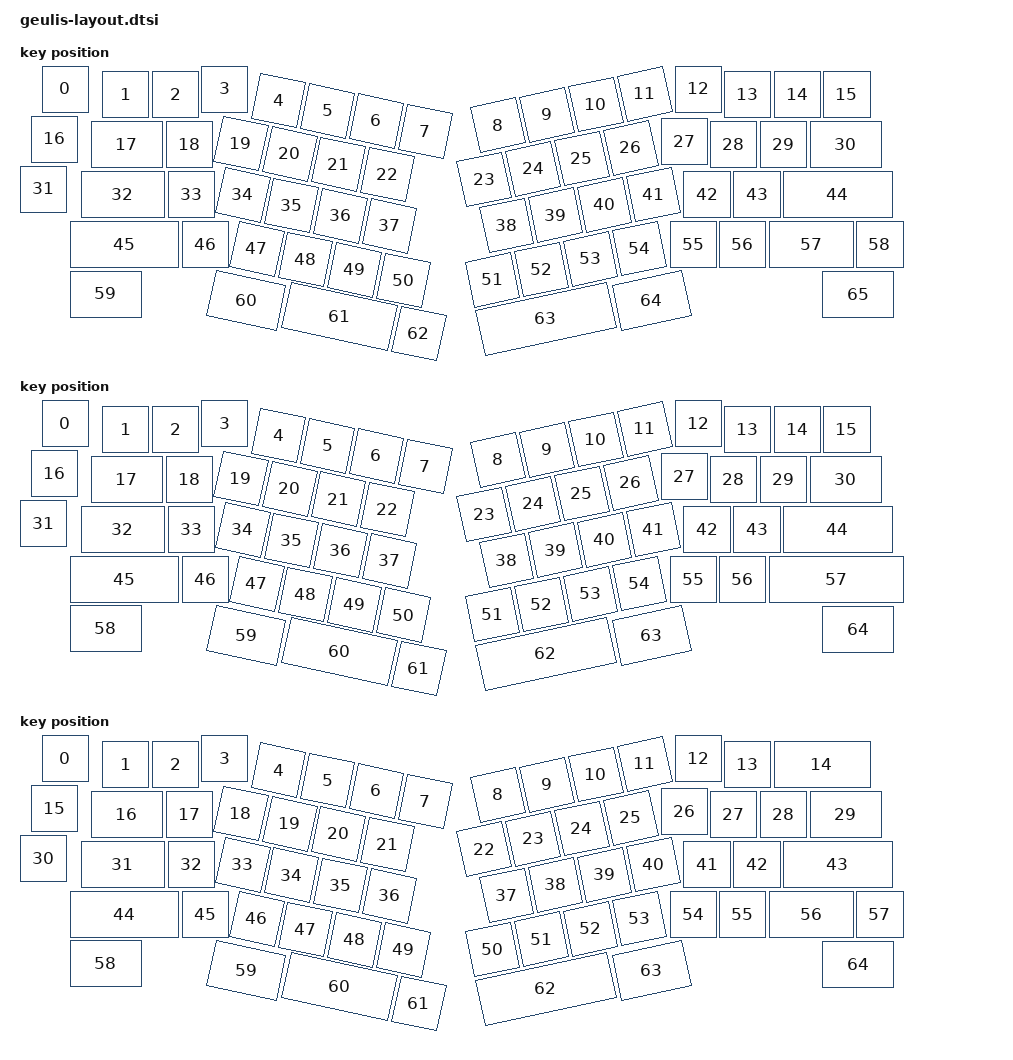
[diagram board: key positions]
#include <physical_layouts.dtsi>

/ {
    // Split backspace and split right shift
    layout0: layout0 {
        compatible = "zmk,physical-layout";
        display-name = "Split Bsp and Split Sft";

        keys  //                     w   h    x    y     rot    rx    ry
            = <&key_physical_attrs 100 100   44    0       0     0     0>
            , <&key_physical_attrs 100 100  165   11       0     0     0>
            , <&key_physical_attrs 100 100  265   11       0     0     0>
            , <&key_physical_attrs 100 100  363    0       0     0     0>
            , <&key_physical_attrs 100 100  481   11    1200   470    21>
            , <&key_physical_attrs 100 100  581   11    1200   470    21>
            , <&key_physical_attrs 100 100  681   11    1200   470    21>
            , <&key_physical_attrs 100 100  781   11    1200   470    21>
            , <&key_physical_attrs 100 100  901   84 (-1200)   901    84>
            , <&key_physical_attrs 100 100 1001   84 (-1200)   901    84>
            , <&key_physical_attrs 100 100 1101   84 (-1200)   901    84>
            , <&key_physical_attrs 100 100 1201   84 (-1200)   901    84>
            , <&key_physical_attrs 100 100 1311    0       0     0     0>
            , <&key_physical_attrs 100 100 1408   11       0     0     0>
            , <&key_physical_attrs 100 100 1508   11       0     0     0>
            , <&key_physical_attrs 100 100 1608   11       0     0     0>
            , <&key_physical_attrs 100 100   23  100       0     0     0>
            , <&key_physical_attrs 150 100  143  111       0     0     0>
            , <&key_physical_attrs 100 100  293  111       0     0     0>
            , <&key_physical_attrs 100 100  425  111    1200   470    21>
            , <&key_physical_attrs 100 100  525  111    1200   470    21>
            , <&key_physical_attrs 100 100  625  111    1200   470    21>
            , <&key_physical_attrs 100 100  725  111    1200   470    21>
            , <&key_physical_attrs 100 100  851  184 (-1200)   901    84>
            , <&key_physical_attrs 100 100  951  184 (-1200)   901    84>
            , <&key_physical_attrs 100 100 1051  184 (-1200)   901    84>
            , <&key_physical_attrs 100 100 1151  184 (-1200)   901    84>
            , <&key_physical_attrs 100 100 1283  105       0     0     0>
            , <&key_physical_attrs 100 100 1380  111       0     0     0>
            , <&key_physical_attrs 100 100 1480  111       0     0     0>
            , <&key_physical_attrs 150 100 1580  111       0     0     0>
            , <&key_physical_attrs 100 100    0  200       0     0     0>
            , <&key_physical_attrs 175 100  122  211       0     0     0>
            , <&key_physical_attrs 100 100  297  211       0     0     0>
            , <&key_physical_attrs 100 100  450  211    1200   470    21>
            , <&key_physical_attrs 100 100  550  211    1200   470    21>
            , <&key_physical_attrs 100 100  650  211    1200   470    21>
            , <&key_physical_attrs 100 100  750  211    1200   470    21>
            , <&key_physical_attrs 100 100  876  284 (-1200)   901    84>
            , <&key_physical_attrs 100 100  976  284 (-1200)   901    84>
            , <&key_physical_attrs 100 100 1076  284 (-1200)   901    84>
            , <&key_physical_attrs 100 100 1176  284 (-1200)   901    84>
            , <&key_physical_attrs 100 100 1328  211       0     0     0>
            , <&key_physical_attrs 100 100 1428  211       0     0     0>
            , <&key_physical_attrs 225 100 1527  211       0     0     0>
            , <&key_physical_attrs 225 100  100  311       0     0     0>
            , <&key_physical_attrs 100 100  325  311       0     0     0>
            , <&key_physical_attrs 100 100  500  311    1200   470    21>
            , <&key_physical_attrs 100 100  600  311    1200   470    21>
            , <&key_physical_attrs 100 100  700  311    1200   470    21>
            , <&key_physical_attrs 100 100  800  311    1200   470    21>
            , <&key_physical_attrs 100 100  826  384 (-1200)   901    84>
            , <&key_physical_attrs 100 100  926  384 (-1200)   901    84>
            , <&key_physical_attrs 100 100 1026  384 (-1200)   901    84>
            , <&key_physical_attrs 100 100 1126  384 (-1200)   901    84>
            , <&key_physical_attrs 100 100 1300  311       0     0     0>
            , <&key_physical_attrs 100 100 1399  311       0     0     0>
            , <&key_physical_attrs 175 100 1499  311       0     0     0>
            , <&key_physical_attrs 100 100 1674  311       0     0     0>
            , <&key_physical_attrs 150 100  100  410       0     0     0>
            , <&key_physical_attrs 150 100  394  409    1200   394   409>
            , <&key_physical_attrs 225 100  543  433    1200   543   433>
            , <&key_physical_attrs 100 100  763  480    1200   763   480>
            , <&key_physical_attrs 275 100  911  490 (-1200)   911   490>
            , <&key_physical_attrs 150 100 1184  440 (-1200)  1184   440>
            , <&key_physical_attrs 150 100 1605  411       0     0     0>
            ;
    };

     // Split backspace and one right shift
    layout1: layout1 {
        compatible = "zmk,physical-layout";
        display-name = "Split Bsp and One Sft";

        keys  //                     w   h    x    y     rot    rx    ry
            = <&key_physical_attrs 100 100   44    0       0     0     0>
            , <&key_physical_attrs 100 100  165   11       0     0     0>
            , <&key_physical_attrs 100 100  265   11       0     0     0>
            , <&key_physical_attrs 100 100  363    0       0     0     0>
            , <&key_physical_attrs 100 100  481   11    1200   470    21>
            , <&key_physical_attrs 100 100  581   11    1200   470    21>
            , <&key_physical_attrs 100 100  681   11    1200   470    21>
            , <&key_physical_attrs 100 100  781   11    1200   470    21>
            , <&key_physical_attrs 100 100  901   84 (-1200)   901    84>
            , <&key_physical_attrs 100 100 1001   84 (-1200)   901    84>
            , <&key_physical_attrs 100 100 1101   84 (-1200)   901    84>
            , <&key_physical_attrs 100 100 1201   84 (-1200)   901    84>
            , <&key_physical_attrs 100 100 1311    0       0     0     0>
            , <&key_physical_attrs 100 100 1408   11       0     0     0>
            , <&key_physical_attrs 100 100 1508   11       0     0     0>
            , <&key_physical_attrs 100 100 1608   11       0     0     0>
            , <&key_physical_attrs 100 100   23  100       0     0     0>
            , <&key_physical_attrs 150 100  143  111       0     0     0>
            , <&key_physical_attrs 100 100  293  111       0     0     0>
            , <&key_physical_attrs 100 100  425  111    1200   470    21>
            , <&key_physical_attrs 100 100  525  111    1200   470    21>
            , <&key_physical_attrs 100 100  625  111    1200   470    21>
            , <&key_physical_attrs 100 100  725  111    1200   470    21>
            , <&key_physical_attrs 100 100  851  184 (-1200)   901    84>
            , <&key_physical_attrs 100 100  951  184 (-1200)   901    84>
            , <&key_physical_attrs 100 100 1051  184 (-1200)   901    84>
            , <&key_physical_attrs 100 100 1151  184 (-1200)   901    84>
            , <&key_physical_attrs 100 100 1283  105       0     0     0>
            , <&key_physical_attrs 100 100 1380  111       0     0     0>
            , <&key_physical_attrs 100 100 1480  111       0     0     0>
            , <&key_physical_attrs 150 100 1580  111       0     0     0>
            , <&key_physical_attrs 100 100    0  200       0     0     0>
            , <&key_physical_attrs 175 100  122  211       0     0     0>
            , <&key_physical_attrs 100 100  297  211       0     0     0>
            , <&key_physical_attrs 100 100  450  211    1200   470    21>
            , <&key_physical_attrs 100 100  550  211    1200   470    21>
            , <&key_physical_attrs 100 100  650  211    1200   470    21>
            , <&key_physical_attrs 100 100  750  211    1200   470    21>
            , <&key_physical_attrs 100 100  876  284 (-1200)   901    84>
            , <&key_physical_attrs 100 100  976  284 (-1200)   901    84>
            , <&key_physical_attrs 100 100 1076  284 (-1200)   901    84>
            , <&key_physical_attrs 100 100 1176  284 (-1200)   901    84>
            , <&key_physical_attrs 100 100 1328  211       0     0     0>
            , <&key_physical_attrs 100 100 1428  211       0     0     0>
            , <&key_physical_attrs 225 100 1527  211       0     0     0>
            , <&key_physical_attrs 225 100  100  311       0     0     0>
            , <&key_physical_attrs 100 100  325  311       0     0     0>
            , <&key_physical_attrs 100 100  500  311    1200   470    21>
            , <&key_physical_attrs 100 100  600  311    1200   470    21>
            , <&key_physical_attrs 100 100  700  311    1200   470    21>
            , <&key_physical_attrs 100 100  800  311    1200   470    21>
            , <&key_physical_attrs 100 100  826  384 (-1200)   901    84>
            , <&key_physical_attrs 100 100  926  384 (-1200)   901    84>
            , <&key_physical_attrs 100 100 1026  384 (-1200)   901    84>
            , <&key_physical_attrs 100 100 1126  384 (-1200)   901    84>
            , <&key_physical_attrs 100 100 1300  311       0     0     0>
            , <&key_physical_attrs 100 100 1399  311       0     0     0>
            , <&key_physical_attrs 275 100 1499  311       0     0     0>
            , <&key_physical_attrs 150 100  100  410       0     0     0>
            , <&key_physical_attrs 150 100  394  409    1200   394   409>
            , <&key_physical_attrs 225 100  543  433    1200   543   433>
            , <&key_physical_attrs 100 100  763  480    1200   763   480>
            , <&key_physical_attrs 275 100  911  490 (-1200)   911   490>
            , <&key_physical_attrs 150 100 1184  440 (-1200)  1184   440>
            , <&key_physical_attrs 150 100 1605  411       0     0     0>
            ;
    };

    // One backspace and split right shift
    layout2: layout2 {
        compatible = "zmk,physical-layout";
        display-name = "One Bsp and split Sft";

        keys  //                     w   h    x    y     rot    rx    ry
            = <&key_physical_attrs 100 100   44    0       0     0     0>
            , <&key_physical_attrs 100 100  165   11       0     0     0>
            , <&key_physical_attrs 100 100  265   11       0     0     0>
            , <&key_physical_attrs 100 100  363    0       0     0     0>
            , <&key_physical_attrs 100 100  481   11    1200   470    21>
            , <&key_physical_attrs 100 100  581   11    1200   470    21>
            , <&key_physical_attrs 100 100  681   11    1200   470    21>
            , <&key_physical_attrs 100 100  781   11    1200   470    21>
            , <&key_physical_attrs 100 100  901   84 (-1200)   901    84>
            , <&key_physical_attrs 100 100 1001   84 (-1200)   901    84>
            , <&key_physical_attrs 100 100 1101   84 (-1200)   901    84>
            , <&key_physical_attrs 100 100 1201   84 (-1200)   901    84>
            , <&key_physical_attrs 100 100 1311    0       0     0     0>
            , <&key_physical_attrs 100 100 1408   11       0     0     0>
            , <&key_physical_attrs 200 100 1508   11       0     0     0>
            , <&key_physical_attrs 100 100   23  100       0     0     0>
            , <&key_physical_attrs 150 100  143  111       0     0     0>
            , <&key_physical_attrs 100 100  293  111       0     0     0>
            , <&key_physical_attrs 100 100  425  111    1200   470    21>
            , <&key_physical_attrs 100 100  525  111    1200   470    21>
            , <&key_physical_attrs 100 100  625  111    1200   470    21>
            , <&key_physical_attrs 100 100  725  111    1200   470    21>
            , <&key_physical_attrs 100 100  851  184 (-1200)   901    84>
            , <&key_physical_attrs 100 100  951  184 (-1200)   901    84>
            , <&key_physical_attrs 100 100 1051  184 (-1200)   901    84>
            , <&key_physical_attrs 100 100 1151  184 (-1200)   901    84>
            , <&key_physical_attrs 100 100 1283  105       0     0     0>
            , <&key_physical_attrs 100 100 1380  111       0     0     0>
            , <&key_physical_attrs 100 100 1480  111       0     0     0>
            , <&key_physical_attrs 150 100 1580  111       0     0     0>
            , <&key_physical_attrs 100 100    0  200       0     0     0>
            , <&key_physical_attrs 175 100  122  211       0     0     0>
            , <&key_physical_attrs 100 100  297  211       0     0     0>
            , <&key_physical_attrs 100 100  450  211    1200   470    21>
            , <&key_physical_attrs 100 100  550  211    1200   470    21>
            , <&key_physical_attrs 100 100  650  211    1200   470    21>
            , <&key_physical_attrs 100 100  750  211    1200   470    21>
            , <&key_physical_attrs 100 100  876  284 (-1200)   901    84>
            , <&key_physical_attrs 100 100  976  284 (-1200)   901    84>
            , <&key_physical_attrs 100 100 1076  284 (-1200)   901    84>
            , <&key_physical_attrs 100 100 1176  284 (-1200)   901    84>
            , <&key_physical_attrs 100 100 1328  211       0     0     0>
            , <&key_physical_attrs 100 100 1428  211       0     0     0>
            , <&key_physical_attrs 225 100 1527  211       0     0     0>
            , <&key_physical_attrs 225 100  100  311       0     0     0>
            , <&key_physical_attrs 100 100  325  311       0     0     0>
            , <&key_physical_attrs 100 100  500  311    1200   470    21>
            , <&key_physical_attrs 100 100  600  311    1200   470    21>
            , <&key_physical_attrs 100 100  700  311    1200   470    21>
            , <&key_physical_attrs 100 100  800  311    1200   470    21>
            , <&key_physical_attrs 100 100  826  384 (-1200)   901    84>
            , <&key_physical_attrs 100 100  926  384 (-1200)   901    84>
            , <&key_physical_attrs 100 100 1026  384 (-1200)   901    84>
            , <&key_physical_attrs 100 100 1126  384 (-1200)   901    84>
            , <&key_physical_attrs 100 100 1300  311       0     0     0>
            , <&key_physical_attrs 100 100 1399  311       0     0     0>
            , <&key_physical_attrs 175 100 1499  311       0     0     0>
            , <&key_physical_attrs 100 100 1674  311       0     0     0>
            , <&key_physical_attrs 150 100  100  410       0     0     0>
            , <&key_physical_attrs 150 100  394  409    1200   394   409>
            , <&key_physical_attrs 225 100  543  433    1200   543   433>
            , <&key_physical_attrs 100 100  763  480    1200   763   480>
            , <&key_physical_attrs 275 100  911  490 (-1200)   911   490>
            , <&key_physical_attrs 150 100 1184  440 (-1200)  1184   440>
            , <&key_physical_attrs 150 100 1605  411       0     0     0>
            ;
    };

    // One backspace and one right shift
    layout3: layout3 {
        compatible = "zmk,physical-layout";
        display-name = "One Bsp and one sft";

        keys  //                     w   h    x    y     rot    rx    ry
            = <&key_physical_attrs 100 100   44    0       0     0     0>
            , <&key_physical_attrs 100 100  165   11       0     0     0>
            , <&key_physical_attrs 100 100  265   11       0     0     0>
            , <&key_physical_attrs 100 100  363    0       0     0     0>
            , <&key_physical_attrs 100 100  481   11    1200   470    21>
            , <&key_physical_attrs 100 100  581   11    1200   470    21>
            , <&key_physical_attrs 100 100  681   11    1200   470    21>
            , <&key_physical_attrs 100 100  781   11    1200   470    21>
            , <&key_physical_attrs 100 100  901   84 (-1200)   901    84>
            , <&key_physical_attrs 100 100 1001   84 (-1200)   901    84>
            , <&key_physical_attrs 100 100 1101   84 (-1200)   901    84>
            , <&key_physical_attrs 100 100 1201   84 (-1200)   901    84>
            , <&key_physical_attrs 100 100 1311    0       0     0     0>
            , <&key_physical_attrs 100 100 1408   11       0     0     0>
            , <&key_physical_attrs 200 100 1508   11       0     0     0>
            , <&key_physical_attrs 100 100   23  100       0     0     0>
            , <&key_physical_attrs 150 100  143  111       0     0     0>
            , <&key_physical_attrs 100 100  293  111       0     0     0>
            , <&key_physical_attrs 100 100  425  111    1200   470    21>
            , <&key_physical_attrs 100 100  525  111    1200   470    21>
            , <&key_physical_attrs 100 100  625  111    1200   470    21>
            , <&key_physical_attrs 100 100  725  111    1200   470    21>
            , <&key_physical_attrs 100 100  851  184 (-1200)   901    84>
            , <&key_physical_attrs 100 100  951  184 (-1200)   901    84>
            , <&key_physical_attrs 100 100 1051  184 (-1200)   901    84>
            , <&key_physical_attrs 100 100 1151  184 (-1200)   901    84>
            , <&key_physical_attrs 100 100 1283  105       0     0     0>
            , <&key_physical_attrs 100 100 1380  111       0     0     0>
            , <&key_physical_attrs 100 100 1480  111       0     0     0>
            , <&key_physical_attrs 150 100 1580  111       0     0     0>
            , <&key_physical_attrs 100 100    0  200       0     0     0>
            , <&key_physical_attrs 175 100  122  211       0     0     0>
            , <&key_physical_attrs 100 100  297  211       0     0     0>
            , <&key_physical_attrs 100 100  450  211    1200   470    21>
            , <&key_physical_attrs 100 100  550  211    1200   470    21>
            , <&key_physical_attrs 100 100  650  211    1200   470    21>
            , <&key_physical_attrs 100 100  750  211    1200   470    21>
            , <&key_physical_attrs 100 100  876  284 (-1200)   901    84>
            , <&key_physical_attrs 100 100  976  284 (-1200)   901    84>
            , <&key_physical_attrs 100 100 1076  284 (-1200)   901    84>
            , <&key_physical_attrs 100 100 1176  284 (-1200)   901    84>
            , <&key_physical_attrs 100 100 1328  211       0     0     0>
            , <&key_physical_attrs 100 100 1428  211       0     0     0>
            , <&key_physical_attrs 225 100 1527  211       0     0     0>
            , <&key_physical_attrs 225 100  100  311       0     0     0>
            , <&key_physical_attrs 100 100  325  311       0     0     0>
            , <&key_physical_attrs 100 100  500  311    1200   470    21>
            , <&key_physical_attrs 100 100  600  311    1200   470    21>
            , <&key_physical_attrs 100 100  700  311    1200   470    21>
            , <&key_physical_attrs 100 100  800  311    1200   470    21>
            , <&key_physical_attrs 100 100  826  384 (-1200)   901    84>
            , <&key_physical_attrs 100 100  926  384 (-1200)   901    84>
            , <&key_physical_attrs 100 100 1026  384 (-1200)   901    84>
            , <&key_physical_attrs 100 100 1126  384 (-1200)   901    84>
            , <&key_physical_attrs 100 100 1300  311       0     0     0>
            , <&key_physical_attrs 100 100 1399  311       0     0     0>
            , <&key_physical_attrs 275 100 1499  311       0     0     0>
            , <&key_physical_attrs 150 100  100  410       0     0     0>
            , <&key_physical_attrs 150 100  394  409    1200   394   409>
            , <&key_physical_attrs 225 100  543  433    1200   543   433>
            , <&key_physical_attrs 100 100  763  480    1200   763   480>
            , <&key_physical_attrs 275 100  911  490 (-1200)   911   490>
            , <&key_physical_attrs 150 100 1184  440 (-1200)  1184   440>
            , <&key_physical_attrs 150 100 1605  411       0     0     0>
            ;
    };

    position_map {
        compatible = "zmk,physical-layout-position-map";

        layout0_map {
            physical-layout = <&layout0>;
            positions = <14 15 57 58>;
        };

        layout1_map {
            physical-layout = <&layout1>;
            positions = <14 15 57 65>;
        };

        layout2_map {
            physical-layout = <&layout2>;
            positions = <14 65 56 57>;
        };

        layout3_map {
            physical-layout = <&layout3>;
            positions = <14 64 56 65>;
        };
    };
};

